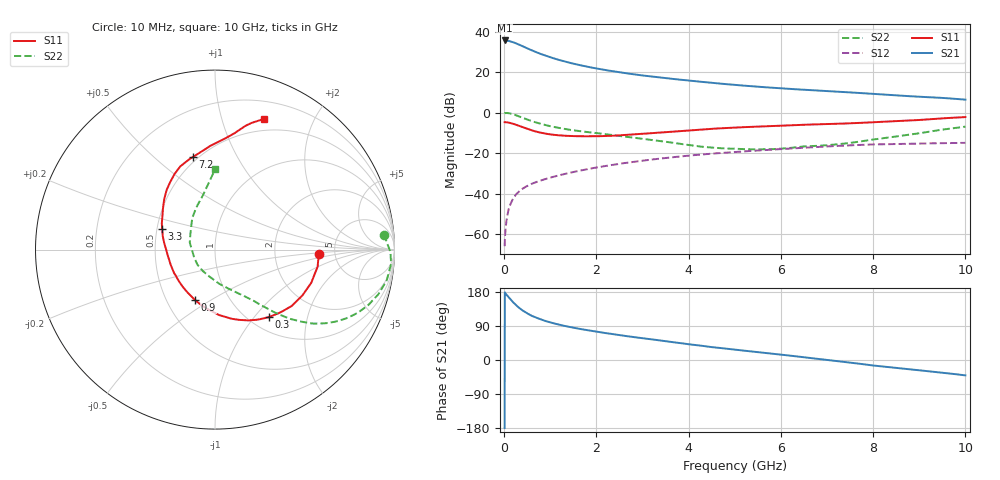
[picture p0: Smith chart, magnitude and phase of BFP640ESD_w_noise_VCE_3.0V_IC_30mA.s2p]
! (c) 2016  Infineon Technologies AG, Munich
! Infineon Technologies  Discrete & RF Semiconductors
! BFP640ESD
! VCE =  3.0 V,  IC =  30 mA
! Common Emitter S-Parameters:  Jan 2016
# GHz  S  MA  R  50
!  f  S11  S21  S12  S22
! GHz  MAG  ANG  MAG  ANG  MAG  ANG  MAG  ANG
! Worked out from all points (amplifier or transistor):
!   233 points, 10 MHz to 10 GHz, reference 50 ohm
!   highest |S21| = 35.7 dB at 10 MHz (marker M1)
!   |S21| within 3 dB of that: start of sweep to 414.5 MHz
!   unconditionally stable (mu >= 1): 2.709 GHz to 7.236 GHz
!   at 200 MHz: K = 0.25, MSG = 38.5 dB, |S12| = -42.3 dB
!   at 1.74 GHz: K = 0.94, MSG = 25.6 dB, |S12| = -28.2 dB
!   at 10 GHz: K = 0.90, MSG = 10.7 dB, |S12| = -14.9 dB
!   lowest NFmin = 1.09 dB at 450 MHz
!   S11 on the Smith chart (normalised r, x): 10 MHz: 3.75, -0.29; 300 MHz: 1.22, -1.19; 900 MHz: 0.69, -0.43; 3.3 GHz: 0.53, +0.14; 7.2 GHz: 0.47, +0.67; 10 GHz: 0.37, +1.37
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0.01  0.5808 -2.5  60.85 -179.6  0.0005 140.1  0.945 5.1
0.02  0.5781 -3.6  60.56 177.0  0.0009 98.0  0.9774 -0.8
0.04  0.5785 -7.5  60.2 173.9  0.0017 88.4  0.9816 -3.3
0.1  0.5672 -19.1  59.31 165.4  0.0042 82.6  0.9719 -10.2
0.15  0.5499 -27.7  57.39 158.2  0.0059 78.9  0.9431 -15.4
0.2  0.5304 -36.3  55.02 151.7  0.0077 75.6  0.9074 -20.0
0.3  0.4812 -51.4  49.41 140.1  0.0107 71.1  0.826 -27.6
0.36  0.4532 -59.7  46.02 134.3  0.0122 69.1  0.7772 -31.2
0.45  0.4154 -70.6  41.3 126.8  0.0143 66.8  0.7099 -35.5
0.6  0.3651 -86.5  34.63 116.5  0.0174 64.8  0.6154 -40.4
0.7  0.3383 -95.7  31.08 111.4  0.0193 64.2  0.5667 -42.8
0.9  0.3027 -111.5  25.55 102.7  0.0229 63.6  0.4918 -46.1
1.2  0.2746 -130.9  19.93 92.9  0.0284 63.5  0.4155 -49.6
1.68  0.2609 -153.6  14.62 81.3  0.0375 62.5  0.3444 -54.0
2.4  0.2699 -178.4  10.35 67.5  0.0523 59.2  0.2751 -62.1
3.3  0.3165 158.4  7.571 52.9  0.0714 52.4  0.2034 -78.5
3.4  0.3228 156.2  7.34 51.2  0.0736 51.6  0.1969 -80.8
5.1  0.4331 127.7  4.745 26.0  0.1083 35.8  0.1266 -143.5
6.8  0.5135 108.7  3.512 3.1  0.1418 19.5  0.1514 156.9
7.2  0.53 103.5  3.309 -2.6  0.1498 15.2  0.164 146.4
8.4  0.6063 87.2  2.713 -19.6  0.1667 1.1  0.2486 115.9
10  0.7776 69.5  2.097 -40.6  0.179 -14.6  0.4502 89.8
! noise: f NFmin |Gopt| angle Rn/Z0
0.45  1.09  0.19  -166  0.09
0.9  1.1  0.19  -163  0.09
1.9  1.11  0.23  -136  0.12
2.4  1.13  0.25  -130  0.12
5.5  1.34  0.43  -104  0.18
10  1.91  0.59  -74  0.79
